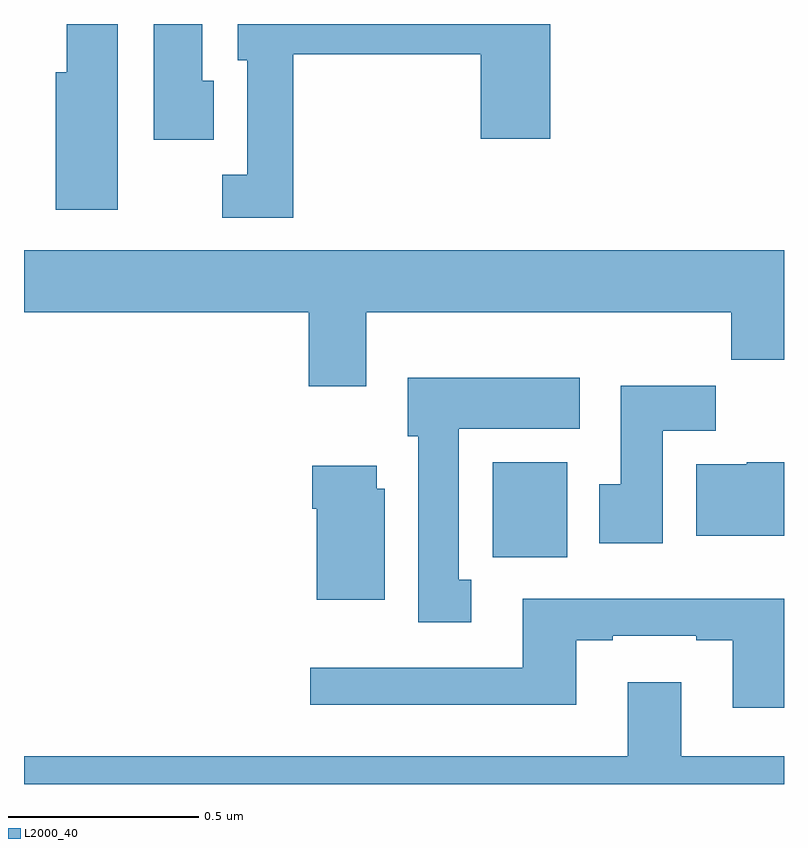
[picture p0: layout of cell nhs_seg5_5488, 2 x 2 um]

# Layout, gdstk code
import gdstk
lib = gdstk.Library(unit=1e-6, precision=1e-09)
def R(c, l, rs):  # rectangles x0, y0, x1, y1
    for r in rs: c.add(gdstk.rectangle(r[:2], r[2:], *l))
def P(c, l, *ps):  # polygons
    for p in ps: c.add(gdstk.Polygon(p, *l))
L2000_40 = (2000, 40)

nhs_seg5_5488 = lib.new_cell('nhs_seg5_5488')
R(nhs_seg5_5488, L2000_40, [(184.233,909.396,184.429,909.646)])
P(nhs_seg5_5488, L2000_40, [(183.709,910.72),(184.202,910.72),(184.202,910.497),(184.385,910.497),(184.385,910.799),(183.563,910.799),(183.563,910.704),(183.587,910.704),(183.587,910.402),(183.522,910.402),(183.522,910.289),(183.709,910.289)],
  [(183.247,910.799),(183.113,910.799),(183.113,910.672),(183.083,910.672),(183.083,910.31),(183.247,910.31)],
  [(183.499,910.65),(183.469,910.65),(183.469,910.799),(183.341,910.799),(183.341,910.494),(183.499,910.494)],
  [(183.901,910.04),(184.861,910.04),(184.861,909.916),(185,909.916),(185,910.204),(183,910.204),(183,910.04),(183.749,910.04),(183.749,909.846),(183.901,909.846)],
  [(184.177,909.337),(184.144,909.337),(184.144,909.734),(184.462,909.734),(184.462,909.868),(184.01,909.868),(184.01,909.714),(184.037,909.714),(184.037,909.225),(184.177,909.225)],
  [(184.681,909.728),(184.82,909.728),(184.82,909.847),(184.571,909.847),(184.571,909.588),(184.514,909.588),(184.514,909.432),(184.681,909.432)],
  [(185,909.646),(184.902,909.646),(184.902,909.64),(184.769,909.64),(184.769,909.452),(185,909.452)],
  [(183.949,909.576),(183.928,909.576),(183.928,909.637),(183.758,909.637),(183.758,909.524),(183.77,909.524),(183.77,909.284),(183.949,909.284)],
  [(185,909.286),(184.313,909.286),(184.313,909.105),(183.753,909.105),(183.753,909.008),(184.453,909.008),(184.453,909.177),(184.549,909.177),(184.549,909.189),(184.769,909.189),(184.769,909.177),(184.865,909.177),(184.865,909),(185,909)],
  [(185,908.872),(184.729,908.872),(184.729,909.067),(184.589,909.067),(184.589,908.872),(183,908.872),(183,908.799),(185,908.799)])

lib.write_gds('nhs_seg5_5488.gds')
